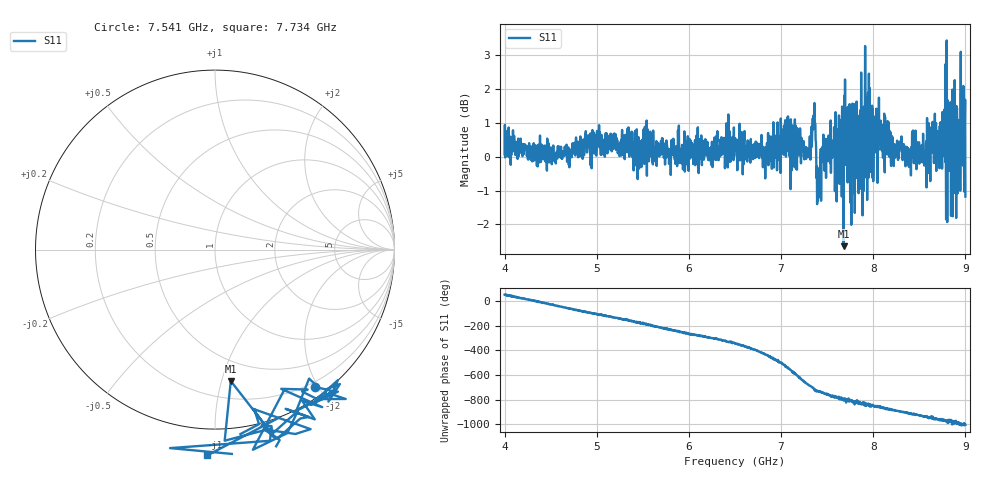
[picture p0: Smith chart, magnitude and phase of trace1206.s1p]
! Created with skrf 1.8.0 (http://scikit-rf.org).
# Hz S RI R 50.0
!freq ReS11 ImS11
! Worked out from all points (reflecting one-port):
!   1601 points, 4 GHz to 9 GHz, reference 50 ohm
!   lowest |S11| = -2.6 dB at 7.678 GHz (marker M1), VSWR 6.62, Z = 16.7 - j53.5 ohm
!   phase of S11 starts at 51 deg and turns -1054 deg over the sweep
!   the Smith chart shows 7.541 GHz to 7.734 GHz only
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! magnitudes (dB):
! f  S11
! 4 GHz  0.1
! 4.625 GHz  -0.1
! 5.25 GHz  0.2
! 5.875 GHz  0.2
! 6.5 GHz  0.6
! 6.819 GHz  -0.1
! 7.059 GHz  0.7
! 7.125 GHz  0.0
! 7.294 GHz  0.0
! 7.353 GHz  1.2
! 7.409 GHz  -1.2
! 7.453 GHz  0.1
! 7.584 GHz  -1.0
! 7.678 GHz  -2.6
! 7.719 GHz  0.0
! 7.75 GHz  -1.4
! 7.775 GHz  1.6
! 7.8 GHz  -1.7
! 7.875 GHz  -0.1
! 7.928 GHz  1.5
! 7.981 GHz  0.5
! 8.375 GHz  -0.1
! 8.441 GHz  -0.2
! 8.575 GHz  0.5
! 8.775 GHz  1.4
! 8.919 GHz  0.2
! 8.972 GHz  0.5
! 9 GHz  -1.2
